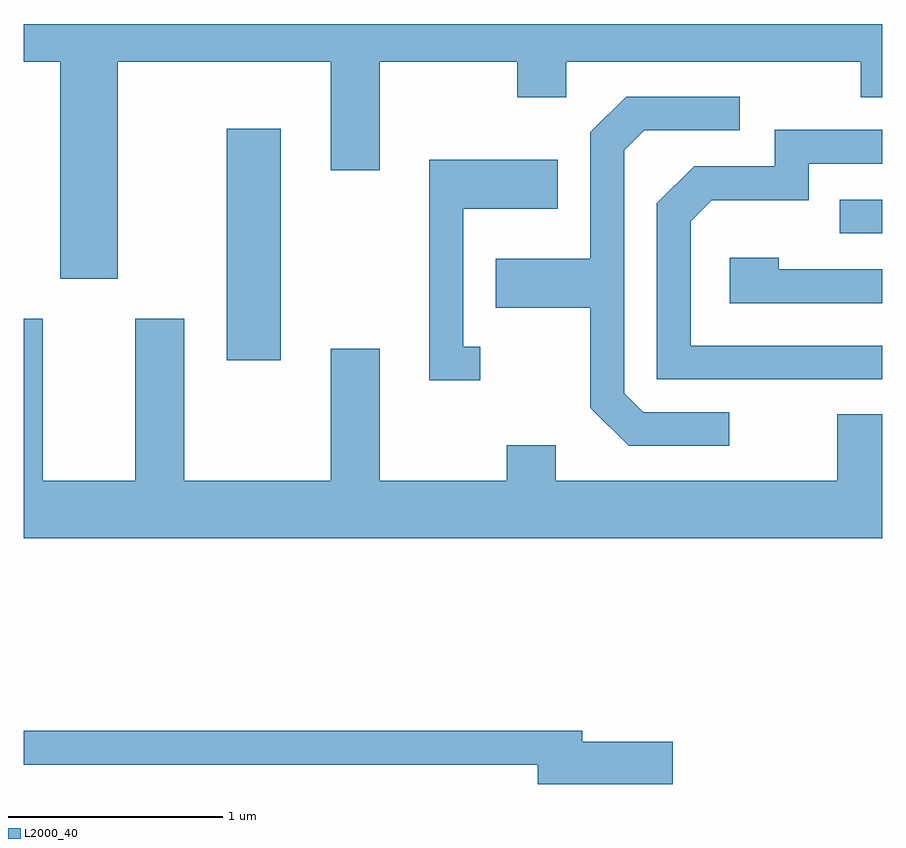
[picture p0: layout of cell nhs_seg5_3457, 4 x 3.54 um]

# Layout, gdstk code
import gdstk
lib = gdstk.Library(unit=1e-6, precision=1e-09)
def R(c, l, rs):  # rectangles x0, y0, x1, y1
    for r in rs: c.add(gdstk.rectangle(r[:2], r[2:], *l))
def P(c, l, *ps):  # polygons
    for p in ps: c.add(gdstk.Polygon(p, *l))
L2000_40 = (2000, 40)

nhs_seg5_3457 = lib.new_cell('nhs_seg5_3457')
R(nhs_seg5_3457, L2000_40, [(288.556,1466.506,288.809,1467.584), (291.413,1467.096,291.611,1467.254)])
P(nhs_seg5_3457, L2000_40, [(288.049,1467.896),(289.041,1467.896),(289.041,1467.391),(289.269,1467.391),(289.269,1467.896),(289.911,1467.896),(289.911,1467.731),(290.139,1467.731),(290.139,1467.896),(291.511,1467.896),(291.511,1467.731),(291.611,1467.731),(291.611,1468.072),(287.611,1468.072),(287.611,1467.896),(287.781,1467.896),(287.781,1466.886),(288.049,1466.886)],
  [(290.898,1466.264),(290.497,1466.264),(290.409,1466.352),(290.409,1467.484),(290.502,1467.576),(290.948,1467.576),(290.948,1467.734),(290.419,1467.734),(290.251,1467.567),(290.251,1466.979),(289.811,1466.979),(289.811,1466.751),(290.251,1466.751),(290.251,1466.284),(290.429,1466.106),(290.898,1466.106)],
  [(291.611,1466.574),(290.719,1466.574),(290.719,1467.154),(290.817,1467.251),(291.269,1467.251),(291.269,1467.421),(291.611,1467.421),(291.611,1467.579),(291.111,1467.579),(291.111,1467.409),(290.734,1467.409),(290.561,1467.237),(290.561,1466.416),(291.611,1466.416)],
  [(289.738,1466.569),(289.659,1466.569),(289.659,1467.211),(290.099,1467.211),(290.099,1467.439),(289.501,1467.439),(289.501,1466.411),(289.738,1466.411)],
  [(291.611,1466.929),(291.129,1466.929),(291.129,1466.984),(290.901,1466.984),(290.901,1466.771),(291.611,1466.771)],
  [(291.611,1466.254),(291.401,1466.254),(291.401,1465.944),(290.089,1465.944),(290.089,1466.109),(289.861,1466.109),(289.861,1465.944),(289.269,1465.944),(289.269,1466.559),(289.041,1466.559),(289.041,1465.944),(288.359,1465.944),(288.359,1466.699),(288.131,1466.699),(288.131,1465.944),(287.699,1465.944),(287.699,1466.699),(287.611,1466.699),(287.611,1465.676),(291.611,1465.676)],
  [(290.634,1464.729),(290.214,1464.729),(290.214,1464.779),(287.611,1464.779),(287.611,1464.621),(290.006,1464.621),(290.006,1464.531),(290.634,1464.531)])

lib.write_gds('nhs_seg5_3457.gds')
